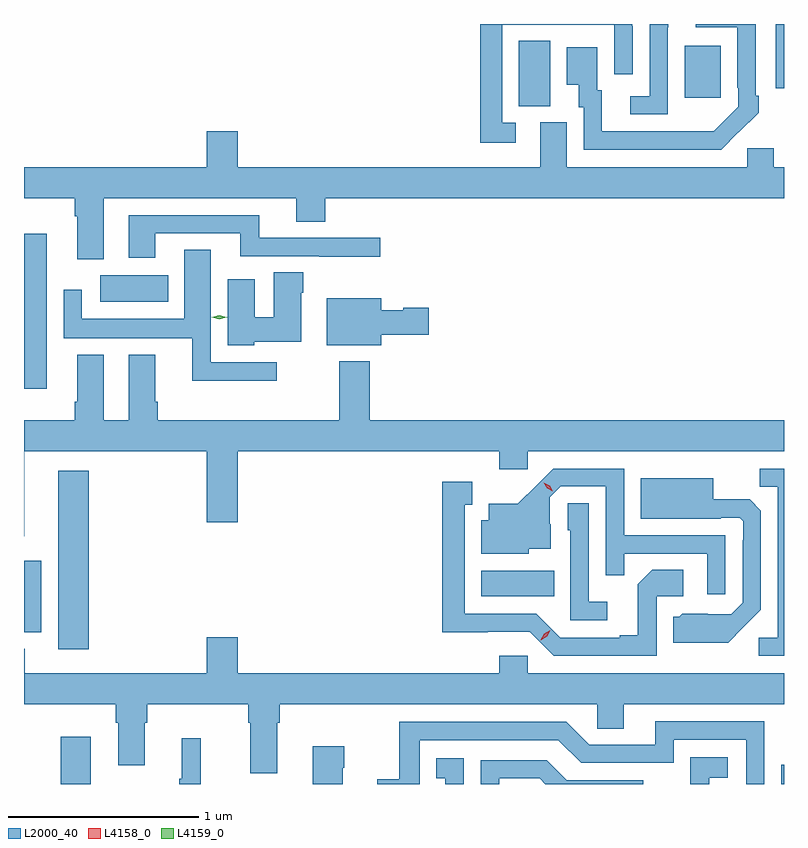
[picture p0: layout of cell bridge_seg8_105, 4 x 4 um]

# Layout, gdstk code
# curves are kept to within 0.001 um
import gdstk
lib = gdstk.Library(unit=1e-6, precision=1e-09)
def R(c, l, rs):  # rectangles x0, y0, x1, y1
    for r in rs: c.add(gdstk.rectangle(r[:2], r[2:], *l))
def P(c, l, *ps):  # polygons
    for p in ps: c.add(gdstk.Polygon(p, *l))
L2000_40 = (2000, 40)
L4158_0 = (4158, 0)
L4159_0 = (4159, 0)

bridge_seg8_105 = lib.new_cell('bridge_seg8_105')
R(bridge_seg8_105, L2000_40, [(703.7,1141.389,703.858,1141.639), (707.493,1141.389,707.507,1141.491), (703.688,1142.097,703.847,1143.037), (703.507,1142.187,703.599,1142.563), (705.914,1142.378,706.298,1142.512), (703.507,1143.468,703.627,1144.285), (703.908,1143.926,704.266,1144.066), (706.112,1144.957,706.276,1145.3), (706.985,1145.001,707.173,1145.275), (707.463,1145.052,707.507,1145.389)])
P(bridge_seg8_105, L2000_40, [(706.096,1144.869),(706.023,1144.869),(706.023,1145.385),(706.614,1145.385),(706.614,1145.124),(706.71,1145.124),(706.71,1145.378),(706.709,1145.378),(706.709,1145.389),(705.907,1145.389),(705.907,1144.764),(706.096,1144.764)],
  [(706.896,1145.371),(706.897,1145.371),(706.897,1145.389),(706.8,1145.389),(706.8,1145.01),(706.698,1145.01),(706.698,1144.914),(706.896,1144.914)],
  [(707.267,1144.819),(707.268,1144.818),(707.373,1144.923),(707.373,1145.011),(707.358,1145.011),(707.358,1145.389),(707.043,1145.389),(707.043,1145.373),(707.262,1145.373),(707.262,1145.053),(707.265,1145.053),(707.265,1144.953),(707.137,1144.825),(706.549,1144.824),(706.549,1145.04),(706.525,1145.04),(706.525,1145.266),(706.364,1145.266),(706.364,1145.069),(706.427,1145.069),(706.427,1144.95),(706.452,1144.95),(706.452,1144.728),(707.176,1144.728)],
  [(703.927,1144.472),(704.939,1144.472),(704.939,1144.348),(705.092,1144.348),(705.092,1144.472),(707.507,1144.472),(707.507,1144.636),(707.452,1144.636),(707.452,1144.734),(707.313,1144.734),(707.313,1144.636),(706.363,1144.636),(706.363,1144.872),(706.223,1144.872),(706.223,1144.636),(704.632,1144.636),(704.632,1144.825),(704.468,1144.825),(704.468,1144.636),(703.507,1144.636),(703.507,1144.472),(703.775,1144.472),(703.775,1144.376),(703.787,1144.376),(703.787,1144.152),(703.927,1144.152)],
  [(704.197,1144.287),(704.645,1144.287),(704.645,1144.167),(705.061,1144.167),(705.061,1144.165),(705.382,1144.165),(705.382,1144.263),(704.744,1144.263),(704.744,1144.383),(704.057,1144.383),(704.057,1144.158),(704.197,1144.158)],
  [(704.836,1143.609),(704.491,1143.609),(704.491,1144.202),(704.351,1144.202),(704.351,1143.838),(703.812,1143.838),(703.812,1143.991),(703.716,1143.991),(703.716,1143.734),(704.393,1143.734),(704.393,1143.512),(704.836,1143.512)],
  [(704.718,1143.716),(704.965,1143.716),(704.965,1143.974),(704.978,1143.974),(704.978,1144.082),(704.822,1144.082),(704.822,1143.846),(704.722,1143.846),(704.722,1144.045),(704.579,1144.045),(704.579,1143.698),(704.718,1143.698)],
  [(705.388,1143.754),(705.637,1143.754),(705.637,1143.896),(705.504,1143.896),(705.504,1143.883),(705.388,1143.883),(705.388,1143.946),(705.101,1143.946),(705.101,1143.698),(705.388,1143.698)],
  [(703.508,1143.14),(704.468,1143.14),(704.468,1142.766),(704.632,1142.766),(704.632,1143.14),(706.007,1143.14),(706.007,1143.045),(706.158,1143.045),(706.158,1143.14),(707.507,1143.14),(707.507,1143.304),(705.326,1143.304),(705.326,1143.613),(705.166,1143.613),(705.166,1143.304),(704.21,1143.304),(704.21,1143.4),(704.197,1143.4),(704.197,1143.649),(704.057,1143.649),(704.057,1143.304),(703.927,1143.304),(703.927,1143.649),(703.787,1143.649),(703.787,1143.4),(703.775,1143.4),(703.775,1143.304),(703.507,1143.304),(703.507,1142.694),(703.508,1142.694)],
  [(707.507,1143.048),(707.38,1143.048),(707.38,1142.953),(707.475,1142.953),(707.475,1142.16),(707.373,1142.16),(707.373,1142.064),(707.507,1142.064)],
  [(707.199,1142.697),(706.665,1142.697),(706.665,1143.048),(706.292,1143.048),(706.105,1142.863),(705.953,1142.863),(705.953,1142.776),(705.914,1142.776),(705.914,1142.6),(706.164,1142.6),(706.164,1142.627),(706.279,1142.627),(706.279,1142.756),(706.275,1142.756),(706.275,1142.898),(706.332,1142.955),(706.569,1142.955),(706.569,1142.488),(706.667,1142.488),(706.667,1142.601),(707.103,1142.601),(707.103,1142.388),(707.199,1142.388)],
  [(707.293,1142.213),(707.385,1142.306),(707.385,1142.828),(707.326,1142.887),(707.134,1142.887),(707.134,1142.998),(706.754,1142.998),(706.754,1142.786),(707.174,1142.786),(707.174,1142.79),(707.274,1142.79),(707.292,1142.772),(707.292,1142.672),(707.289,1142.672),(707.289,1142.343),(707.229,1142.283),(706.972,1142.284),(706.956,1142.268),(706.925,1142.268),(706.925,1142.132),(707.213,1142.132)],
  [(706.836,1142.376),(706.978,1142.376),(706.978,1142.516),(706.813,1142.516),(706.737,1142.44),(706.737,1142.173),(706.643,1142.173),(706.643,1142.16),(706.329,1142.16),(706.203,1142.286),(705.826,1142.286),(705.826,1142.859),(705.865,1142.859),(705.865,1142.98),(705.708,1142.98),(705.708,1142.189),(706.17,1142.19),(706.296,1142.064),(706.836,1142.064)],
  [(706.576,1142.347),(706.479,1142.347),(706.479,1142.867),(706.368,1142.867),(706.368,1142.724),(706.383,1142.724),(706.383,1142.25),(706.576,1142.25)],
  [(704.839,1141.712),(704.852,1141.712),(704.852,1141.808),(706.524,1141.808),(706.524,1141.681),(706.663,1141.681),(706.663,1141.808),(707.507,1141.808),(707.507,1141.972),(706.158,1141.972),(706.158,1142.065),(706.007,1142.065),(706.007,1141.972),(704.632,1141.972),(704.632,1142.161),(704.468,1142.161),(704.468,1141.972),(703.51,1141.972),(703.51,1142.102),(703.507,1142.102),(703.507,1141.808),(703.991,1141.808),(703.991,1141.712),(704.003,1141.712),(704.003,1141.488),(704.143,1141.488),(704.143,1141.712),(704.156,1141.712),(704.156,1141.808),(704.687,1141.808),(704.687,1141.712),(704.699,1141.712),(704.699,1141.446),(704.839,1141.446)],
  [(705.591,1141.62),(706.32,1141.62),(706.44,1141.5),(706.926,1141.5),(706.926,1141.623),(707.307,1141.623),(707.307,1141.389),(707.403,1141.389),(707.403,1141.719),(706.829,1141.719),(706.829,1141.596),(706.482,1141.596),(706.362,1141.716),(705.483,1141.716),(705.483,1141.414),(705.365,1141.414),(705.365,1141.389),(705.591,1141.389)],
  [(704.438,1141.63),(704.336,1141.63),(704.336,1141.417),(704.325,1141.417),(704.325,1141.389),(704.438,1141.389)],
  [(705.184,1141.475),(705.192,1141.475),(705.192,1141.588),(705.026,1141.588),(705.026,1141.389),(705.184,1141.389)],
  [(707.114,1141.421),(707.212,1141.421),(707.212,1141.531),(707.014,1141.531),(707.014,1141.389),(707.114,1141.389)],
  [(705.822,1141.525),(705.676,1141.525),(705.676,1141.419),(705.725,1141.419),(705.725,1141.389),(705.822,1141.389)],
  [(706.008,1141.418),(706.222,1141.418),(706.251,1141.389),(706.767,1141.389),(706.767,1141.41),(706.363,1141.41),(706.258,1141.515),(705.912,1141.515),(705.912,1141.389),(706.008,1141.389)])
P(bridge_seg8_105, L4158_0, [(706.291,1142.93),(706.26,1142.945),(706.242,1142.974),(706.242,1142.975),(706.242,1142.975),(706.273,1142.96),(706.291,1142.93),(706.291,1142.93)],
  [(706.228,1142.146),(706.228,1142.147),(706.245,1142.18),(706.276,1142.199),(706.277,1142.199),(706.277,1142.199),(706.26,1142.166),(706.228,1142.146)])
P(bridge_seg8_105, L4159_0, [(704.535,1143.835),(704.494,1143.845),(704.494,1143.845),(704.494,1143.845),(704.535,1143.855),(704.575,1143.845),(704.576,1143.845),(704.575,1143.845)])

lib.write_gds('bridge_seg8_105.gds')
